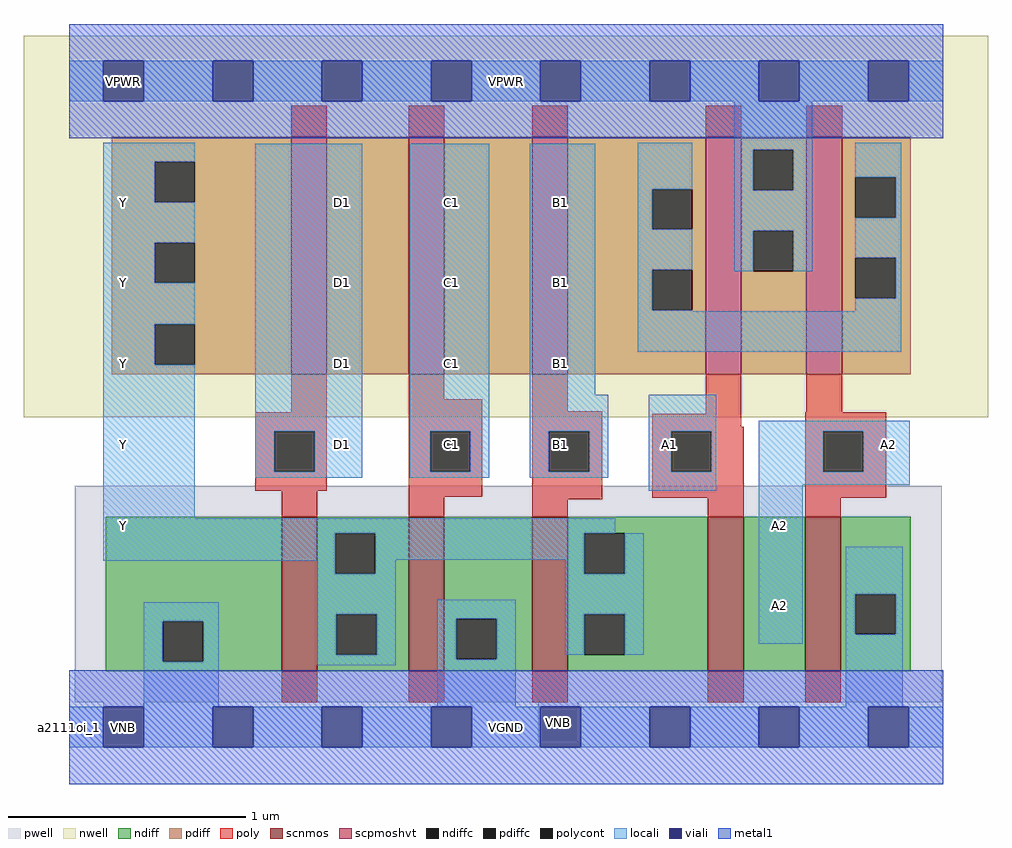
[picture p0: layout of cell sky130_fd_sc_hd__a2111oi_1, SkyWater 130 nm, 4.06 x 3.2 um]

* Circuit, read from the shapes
.subckt sky130_fd_sc_hd__a2111oi_1 A1 A2 B1 C1 D1 VGND VNB VPB VPWR Y
XM1 Y D1 VGND VNB sky130_fd_pr__nfet_01v8 w=0.65 l=0.15
XM2 VGND C1 Y VNB sky130_fd_pr__nfet_01v8 w=0.65 l=0.15
XM3 Y B1 VGND VNB sky130_fd_pr__nfet_01v8 w=0.65 l=0.15
XM4 n1 A1 Y VNB sky130_fd_pr__nfet_01v8 w=0.65 l=0.15
XM5 VGND A2 n1 VNB sky130_fd_pr__nfet_01v8 w=0.65 l=0.15
XM6 n2 D1 Y VPB sky130_fd_pr__pfet_01v8_hvt w=1 l=0.15
XM7 n3 C1 n2 VPB sky130_fd_pr__pfet_01v8_hvt w=1 l=0.15
XM8 n4 B1 n3 VPB sky130_fd_pr__pfet_01v8_hvt w=1 l=0.15
XM9 VPWR A1 n4 VPB sky130_fd_pr__pfet_01v8_hvt w=1 l=0.15
XM10 n4 A2 VPWR VPB sky130_fd_pr__pfet_01v8_hvt w=1 l=0.15
.ends

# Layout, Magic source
magic
tech sky130A
magscale 1 2
<< nwell >>
rect -38 261 774 582
<< pwell >>
rect 5 21 735 203
rect 29 -17 63 21
rect 395 -13 429 21
<< scnmos >>
rect 179 47 209 177
rect 286 47 316 177
rect 390 47 420 177
rect 538 47 568 177
rect 620 47 650 177
<< scpmoshvt >>
rect 187 297 217 497
rect 286 297 316 497
rect 390 297 420 497
rect 536 297 566 497
rect 621 297 651 497
<< ndiff >>
rect 31 89 179 177
rect 31 55 79 89
rect 113 55 179 89
rect 31 47 179 55
rect 209 163 286 177
rect 209 129 224 163
rect 258 129 286 163
rect 209 95 286 129
rect 209 61 225 95
rect 259 61 286 95
rect 209 47 286 61
rect 316 91 390 177
rect 316 57 326 91
rect 360 57 390 91
rect 316 47 390 57
rect 420 163 538 177
rect 420 129 434 163
rect 468 129 538 163
rect 420 95 538 129
rect 420 61 434 95
rect 468 61 538 95
rect 420 47 538 61
rect 568 47 620 177
rect 650 112 709 177
rect 650 78 662 112
rect 696 78 709 112
rect 650 47 709 78
<< pdiff >>
rect 36 476 187 497
rect 36 442 72 476
rect 106 442 187 476
rect 36 408 187 442
rect 36 374 72 408
rect 106 374 187 408
rect 36 339 187 374
rect 36 305 72 339
rect 106 305 187 339
rect 36 297 187 305
rect 217 297 286 497
rect 316 297 390 497
rect 420 453 536 497
rect 420 419 491 453
rect 525 419 536 453
rect 420 385 536 419
rect 420 351 491 385
rect 525 351 536 385
rect 420 297 536 351
rect 566 486 621 497
rect 566 452 576 486
rect 610 452 621 486
rect 566 418 621 452
rect 566 384 576 418
rect 610 384 621 418
rect 566 297 621 384
rect 651 463 709 497
rect 651 429 662 463
rect 696 429 709 463
rect 651 395 709 429
rect 651 361 662 395
rect 696 361 709 395
rect 651 297 709 361
<< ndiffc >>
rect 79 55 113 89
rect 224 129 258 163
rect 225 61 259 95
rect 326 57 360 91
rect 434 129 468 163
rect 434 61 468 95
rect 662 78 696 112
<< pdiffc >>
rect 72 442 106 476
rect 72 374 106 408
rect 72 305 106 339
rect 491 419 525 453
rect 491 351 525 385
rect 576 452 610 486
rect 576 384 610 418
rect 662 429 696 463
rect 662 361 696 395
<< poly >>
rect 187 497 217 523
rect 286 497 316 523
rect 390 497 420 523
rect 536 497 566 523
rect 621 497 651 523
rect 187 265 217 297
rect 157 249 217 265
rect 157 215 173 249
rect 207 215 217 249
rect 157 199 217 215
rect 286 276 316 297
rect 286 249 348 276
rect 286 215 304 249
rect 338 215 348 249
rect 179 177 209 199
rect 286 194 348 215
rect 390 266 420 297
rect 390 249 449 266
rect 536 264 566 297
rect 621 265 651 297
rect 390 215 404 249
rect 438 215 449 249
rect 286 177 316 194
rect 390 192 449 215
rect 491 253 566 264
rect 491 249 568 253
rect 491 215 507 249
rect 541 215 568 249
rect 491 193 568 215
rect 390 177 420 192
rect 538 177 568 193
rect 620 249 688 265
rect 620 215 635 249
rect 669 215 688 249
rect 620 193 688 215
rect 620 177 650 193
rect 179 21 209 47
rect 286 21 316 47
rect 390 21 420 47
rect 538 21 568 47
rect 620 21 650 47
<< polycont >>
rect 173 215 207 249
rect 304 215 338 249
rect 404 215 438 249
rect 507 215 541 249
rect 635 215 669 249
<< locali >>
rect 0 527 29 561
rect 63 527 121 561
rect 155 527 213 561
rect 247 527 305 561
rect 339 527 397 561
rect 431 527 489 561
rect 523 527 581 561
rect 615 527 673 561
rect 707 527 736 561
rect 29 476 106 492
rect 29 442 72 476
rect 29 408 106 442
rect 29 374 72 408
rect 29 339 106 374
rect 29 305 72 339
rect 29 176 106 305
rect 157 249 247 491
rect 157 215 173 249
rect 207 215 247 249
rect 157 210 247 215
rect 287 249 354 491
rect 287 215 304 249
rect 338 215 354 249
rect 287 210 354 215
rect 388 280 443 491
rect 479 453 525 492
rect 479 419 491 453
rect 479 385 525 419
rect 479 351 491 385
rect 560 486 626 527
rect 560 452 576 486
rect 610 452 626 486
rect 560 418 626 452
rect 560 384 576 418
rect 610 384 626 418
rect 662 463 701 492
rect 696 429 701 463
rect 662 395 701 429
rect 479 350 525 351
rect 696 361 701 395
rect 662 350 701 361
rect 479 316 701 350
rect 388 249 454 280
rect 388 215 404 249
rect 438 215 454 249
rect 388 210 454 215
rect 488 249 545 280
rect 488 215 507 249
rect 541 215 545 249
rect 488 199 545 215
rect 581 249 708 258
rect 581 215 635 249
rect 669 215 708 249
rect 581 204 708 215
rect 29 163 460 176
rect 29 140 224 163
rect 209 129 224 140
rect 258 141 434 163
rect 258 129 275 141
rect 63 89 126 105
rect 63 55 79 89
rect 113 55 126 89
rect 63 17 126 55
rect 209 95 275 129
rect 418 129 434 141
rect 468 129 484 163
rect 209 61 225 95
rect 259 61 275 95
rect 209 52 275 61
rect 310 91 376 107
rect 310 57 326 91
rect 360 57 376 91
rect 418 95 484 129
rect 418 61 434 95
rect 468 61 484 95
rect 581 70 618 204
rect 654 112 702 152
rect 654 78 662 112
rect 696 78 702 112
rect 310 17 376 57
rect 654 17 702 78
rect 0 -17 29 17
rect 63 -17 121 17
rect 155 -17 213 17
rect 247 -17 305 17
rect 339 -17 397 17
rect 431 -17 489 17
rect 523 -17 581 17
rect 615 -17 673 17
rect 707 -17 736 17
<< viali >>
rect 29 527 63 561
rect 121 527 155 561
rect 213 527 247 561
rect 305 527 339 561
rect 397 527 431 561
rect 489 527 523 561
rect 581 527 615 561
rect 673 527 707 561
rect 29 -17 63 17
rect 121 -17 155 17
rect 213 -17 247 17
rect 305 -17 339 17
rect 397 -17 431 17
rect 489 -17 523 17
rect 581 -17 615 17
rect 673 -17 707 17
<< metal1 >>
rect 0 561 736 592
rect 0 527 29 561
rect 63 527 121 561
rect 155 527 213 561
rect 247 527 305 561
rect 339 527 397 561
rect 431 527 489 561
rect 523 527 581 561
rect 615 527 673 561
rect 707 527 736 561
rect 0 496 736 527
rect 0 17 736 48
rect 0 -17 29 17
rect 63 -17 121 17
rect 155 -17 213 17
rect 247 -17 305 17
rect 339 -17 397 17
rect 431 -17 489 17
rect 523 -17 581 17
rect 615 -17 673 17
rect 707 -17 736 17
rect 0 -48 736 -17
<< labels >>
flabel locali s 397 289 431 323 0 FreeSans 340 0 0 0 B1
port 3 nsew signal input
flabel locali s 213 425 247 459 0 FreeSans 340 0 0 0 D1
port 5 nsew signal input
flabel locali s 397 221 431 255 0 FreeSans 340 0 0 0 B1
port 3 nsew signal input
flabel locali s 305 221 339 255 0 FreeSans 340 0 0 0 C1
port 4 nsew signal input
flabel locali s 29 153 63 187 0 FreeSans 340 0 0 0 Y
port 10 nsew signal output
flabel locali s 673 221 707 255 0 FreeSans 340 0 0 0 A2
port 2 nsew signal input
flabel locali s 489 221 523 255 0 FreeSans 340 0 0 0 A1
port 1 nsew signal input
flabel locali s 213 357 247 391 0 FreeSans 340 0 0 0 D1
port 5 nsew signal input
flabel locali s 213 289 247 323 0 FreeSans 340 0 0 0 D1
port 5 nsew signal input
flabel locali s 213 221 247 255 0 FreeSans 340 0 0 0 D1
port 5 nsew signal input
flabel locali s 305 289 339 323 0 FreeSans 340 0 0 0 C1
port 4 nsew signal input
flabel locali s 305 357 339 391 0 FreeSans 340 0 0 0 C1
port 4 nsew signal input
flabel locali s 305 425 339 459 0 FreeSans 340 0 0 0 C1
port 4 nsew signal input
flabel locali s 397 357 431 391 0 FreeSans 340 0 0 0 B1
port 3 nsew signal input
flabel locali s 397 425 431 459 0 FreeSans 340 0 0 0 B1
port 3 nsew signal input
flabel locali s 29 221 63 255 0 FreeSans 340 0 0 0 Y
port 10 nsew signal output
flabel locali s 29 289 63 323 0 FreeSans 340 0 0 0 Y
port 10 nsew signal output
flabel locali s 29 357 63 391 0 FreeSans 340 0 0 0 Y
port 10 nsew signal output
flabel locali s 29 425 63 459 0 FreeSans 340 0 0 0 Y
port 10 nsew signal output
flabel locali s 581 153 615 187 0 FreeSans 340 0 0 0 A2
port 2 nsew signal input
flabel locali s 581 85 615 119 0 FreeSans 340 0 0 0 A2
port 2 nsew signal input
flabel pwell s 29 -17 63 17 0 FreeSans 200 0 0 0 VNB
port 7 nsew ground bidirectional
flabel pwell s 395 -13 429 20 0 FreeSans 200 0 0 0 VNB
port 7 nsew ground bidirectional
flabel metal1 s 29 527 63 561 0 FreeSans 200 0 0 0 VPWR
port 9 nsew power bidirectional abutment
flabel metal1 s 29 -17 63 17 0 FreeSans 200 0 0 0 VGND
port 6 nsew ground bidirectional abutment
flabel nwell s 29 527 63 561 0 FreeSans 200 0 0 0 VPB
port 8 nsew power bidirectional
rlabel comment s 0 0 0 0 4 a2111oi_1
rlabel metal1 s 0 -48 736 48 1 VGND
port 6 nsew ground bidirectional abutment
rlabel metal1 s 0 496 736 592 1 VPWR
port 9 nsew power bidirectional abutment
<< properties >>
string FIXED_BBOX 0 0 736 544
string GDS_END 3778960
string GDS_FILE $PDKPATH/libs.ref/sky130_fd_sc_hd/gds/sky130_fd_sc_hd.gds
string GDS_START 3771178
string LEFclass CORE
string LEFsite unithd
string LEFsymmetry X Y R90
string path 0.000 13.600 18.400 13.600 
<< end >>
